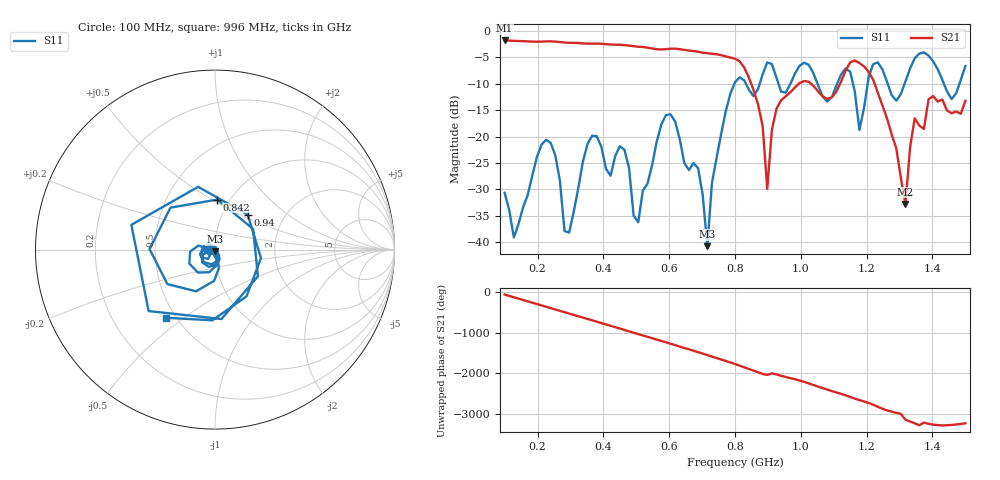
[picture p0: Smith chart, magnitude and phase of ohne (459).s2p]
! NanoVNA-App
! Date: 2025-09-25 14:24:22
! Start: 100MHz Stop: 1,5GHz Points: 101
! S-Parameter data: F S11 S21 S12 S22
# Hz S RI R 50
!  Frequency  S11_Real  S11_Imag  S21_Real  S21_Imag  S12_Real  S12_Imag  S22_Real  S22_Imag
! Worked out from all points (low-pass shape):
!   101 points, 100 MHz to 1.5 GHz, reference 50 ohm
!   highest |S21| = -1.79 dB at 100 MHz (marker M1); lowest = -32.8 dB at 1.318 GHz (marker M2)
!   |S21| within 3 dB of the highest: start of sweep to 771.1 MHz
!   lowest |S11| = -40.7 dB at 716 MHz (marker M3), VSWR 1.02, Z = 49.9 - j0.906 ohm
!   |S11| at or under -10 dB: start of sweep to 798 MHz; 833.2 MHz to 875 MHz (41.83 MHz wide, 4.9 % of centre); 1.051 GHz to 1.11 GHz (59.78 MHz wide, 5.53 % of centre) (the widest 3 of 7)
!   S12 and S22 are empty: the file has one direction only
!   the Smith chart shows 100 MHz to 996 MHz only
!   S11 on the Smith chart (normalised r, x): 100 MHz: 0.94, -0.01; 842 MHz: 0.88, +0.53; 940 MHz: 1.31, +0.55; 996 MHz: 0.44, -0.43
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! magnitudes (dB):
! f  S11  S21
! 100 MHz  -30.6  -1.8
! 128 MHz  -39.1  -1.9
! 226 MHz  -20.6  -2.0
! 296 MHz  -38.2  -2.2
! 338 MHz  -24.7  -2.4
! 464 MHz  -22.5  -2.7
! 506 MHz  -36.2  -3.0
! 576 MHz  -17.7  -3.5
! 688 MHz  -26.0  -3.9
! 716 MHz  -40.7  -4.2
! 800 MHz  -9.7  -5.3
! 842 MHz  -11.1  -8.8
! 898 MHz  -6.0  -29.9
! 940 MHz  -11.5  -13.1
! 996 MHz  -6.6  -9.9
! 1.038 GHz  -8.0  -10.4
! 1.178 GHz  -18.8  -6.1
! 1.22 GHz  -6.3  -9.3
! 1.276 GHz  -12.2  -19.6
! 1.318 GHz  -9.5  -32.8
! 1.346 GHz  -5.2  -16.5
! 1.5 GHz  -6.7  -13.2
